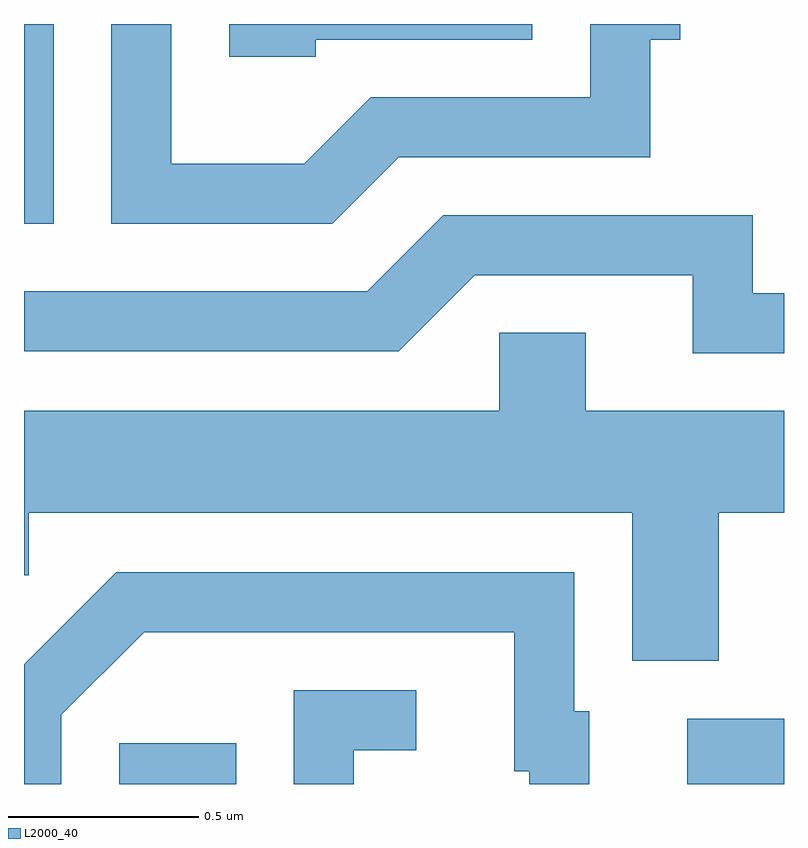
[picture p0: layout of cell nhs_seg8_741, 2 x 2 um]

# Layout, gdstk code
import gdstk
lib = gdstk.Library(unit=1e-6, precision=1e-09)
def R(c, l, rs):  # rectangles x0, y0, x1, y1
    for r in rs: c.add(gdstk.rectangle(r[:2], r[2:], *l))
def P(c, l, *ps):  # polygons
    for p in ps: c.add(gdstk.Polygon(p, *l))
L2000_40 = (2000, 40)

nhs_seg8_741 = lib.new_cell('nhs_seg8_741')
R(nhs_seg8_741, L2000_40, [(190.861,1862.342,191.169,1862.449), (192.356,1862.342,192.611,1862.514), (190.611,1863.816,190.689,1864.342)])
P(nhs_seg8_741, L2000_40, [(191.597,1863.991),(192.259,1863.991),(192.259,1864.301),(192.338,1864.301),(192.338,1864.342),(192.101,1864.342),(192.101,1864.149),(191.524,1864.149),(191.349,1863.974),(190.999,1863.974),(190.999,1864.342),(190.841,1864.342),(190.841,1863.816),(191.422,1863.816)],
  [(191.379,1864.301),(191.949,1864.301),(191.949,1864.342),(191.151,1864.342),(191.151,1864.256),(191.379,1864.256)],
  [(192.611,1863.634),(192.529,1863.634),(192.529,1863.839),(191.714,1863.839),(191.514,1863.639),(190.611,1863.639),(190.611,1863.481),(191.597,1863.481),(191.797,1863.681),(192.371,1863.681),(192.371,1863.476),(192.611,1863.476)],
  [(192.439,1863.056),(192.611,1863.056),(192.611,1863.324),(192.089,1863.324),(192.089,1863.529),(191.861,1863.529),(191.861,1863.324),(190.611,1863.324),(190.611,1862.891),(190.624,1862.891),(190.624,1863.056),(192.211,1863.056),(192.211,1862.666),(192.439,1862.666)],
  [(190.709,1862.524),(190.927,1862.741),(191.901,1862.741),(191.901,1862.376),(191.941,1862.376),(191.941,1862.342),(192.099,1862.342),(192.099,1862.534),(192.059,1862.534),(192.059,1862.899),(190.854,1862.899),(190.611,1862.657),(190.611,1862.342),(190.709,1862.342)],
  [(191.479,1862.431),(191.643,1862.431),(191.643,1862.589),(191.321,1862.589),(191.321,1862.342),(191.479,1862.342)])

lib.write_gds('nhs_seg8_741.gds')
